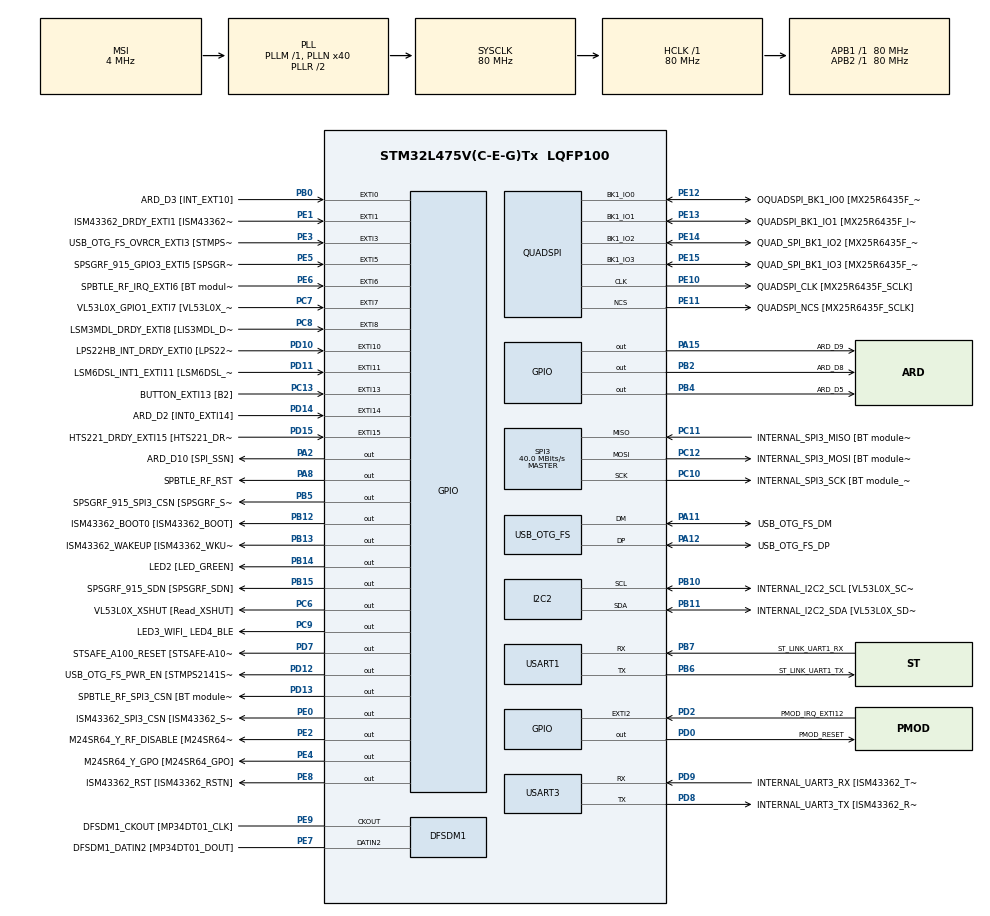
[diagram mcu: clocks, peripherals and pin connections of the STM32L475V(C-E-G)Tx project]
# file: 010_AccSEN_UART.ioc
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Mcu.Family=STM32L4
Mcu.Name=STM32L475V(C-E-G)Tx
Mcu.Package=LQFP100
NVIC.EXTI15_10_IRQn=true\:0\:0\:false\:false\:true\:true\:true\:true
NVIC.EXTI9_5_IRQn=true\:0\:0\:false\:false\:true\:true\:true\:true
NVIC.PriorityGroup=NVIC_PRIORITYGROUP_4
PA0.GPIO_Label=ARD_D1 [UART4_TX]
PA0.Signal=UART4_TX
PA1.GPIO_Label=ARD_D0 [UART4_RX]
PA1.Signal=UART4_RX
PA10.GPIO_Label=USB_OTG_FS_ID
PA10.Signal=USB_OTG_FS_ID
PA11.GPIO_Label=USB_OTG_FS_DM
PA11.Mode=Device_Only
PA11.Signal=USB_OTG_FS_DM
PA12.GPIO_Label=USB_OTG_FS_DP
PA12.Mode=Device_Only
PA12.Signal=USB_OTG_FS_DP
PA13\ (JTMS-SWDIO).GPIO_Label=SYS_JTMS_SWDIO
PA13\ (JTMS-SWDIO).Mode=Serial_Wire
PA13\ (JTMS-SWDIO).Signal=SYS_JTMS-SWDIO
PA14\ (JTCK-SWCLK).GPIO_Label=SYS_JTCK_SWCLK
PA14\ (JTCK-SWCLK).Mode=Serial_Wire
PA14\ (JTCK-SWCLK).Signal=SYS_JTCK-SWCLK
PA15\ (JTDI).GPIO_Label=ARD_D9
PA15\ (JTDI).Signal=GPIO_Output
PA2.GPIO_Label=ARD_D10 [SPI_SSN]
PA2.Signal=GPIO_Output
PA3.GPIO_Label=ARD_D4
PA3.Signal=S_TIM2_CH4
PA4.GPIO_Label=ARD_D7
PA4.Signal=ADCx_IN9
PA5.GPIO_Label=ARD_D13 [SPI1_SCK]
PA5.Signal=SPI1_SCK
PA6.GPIO_Label=ARD_D12 [SPI1_MISO]
PA6.Signal=SPI1_MISO
PA7.GPIO_Label=ARD_D11 [SPI1_MOSI]
PA7.Signal=SPI1_MOSI
PA8.GPIO_Label=SPBTLE_RF_RST
PA8.Signal=GPIO_Output
PA9.GPIO_Label=USB_OTG_FS_VBUS [STMPS2141STR_OUT]
PA9.Signal=USB_OTG_FS_VBUS
PB0.GPIO_Label=ARD_D3 [INT_EXT10]
PB0.Signal=GPXTI0
PB1.GPIO_Label=ARD_D6 [ADC1_IN6]
PB1.Signal=ADCx_IN16
PB10.GPIO_Label=INTERNAL_I2C2_SCL [VL53L0X_SCL]
PB10.GPIO_Pu=GPIO_PULLUP
PB10.Mode=I2C
PB10.Signal=I2C2_SCL
PB11.GPIO_Label=INTERNAL_I2C2_SDA [VL53L0X_SDA]
PB11.GPIO_Pu=GPIO_PULLUP
PB11.Mode=I2C
PB11.Signal=I2C2_SDA
PB12.GPIO_Label=ISM43362_BOOT0 [ISM43362_BOOT]
PB12.Signal=GPIO_Output
PB13.GPIO_Label=ISM43362_WAKEUP [ISM43362_WKUP]
PB13.Signal=GPIO_Output
PB14.GPIO_Label=LED2 [LED_GREEN]
PB14.Signal=GPIO_Output
PB15.GPIO_Label=SPSGRF_915_SDN [SPSGRF_SDN]
PB15.Signal=GPIO_Output
PB2.GPIO_Label=ARD_D8
PB2.Signal=GPIO_Output
PB3\ (JTDO-TRACESWO).GPIO_Label=SYS_JTD0_SWO
PB3\ (JTDO-TRACESWO).Signal=SYS_JTDO-SWO
PB4\ (NJTRST).GPIO_Label=ARD_D5
PB4\ (NJTRST).Signal=GPIO_Output
PB5.GPIO_Label=SPSGRF_915_SPI3_CSN [SPSGRF_SPI_CS]
PB5.PinState=GPIO_PIN_SET
PB5.Signal=GPIO_Output
PB6.GPIO_Label=ST_LINK_UART1_TX
PB6.Mode=Asynchronous
PB6.Signal=USART1_TX
PB7.GPIO_Label=ST_LINK_UART1_RX
PB7.Mode=Asynchronous
PB7.Signal=USART1_RX
PB8.GPIO_Label=ARD_D15 [I2C1_SCL]
PB8.Signal=I2C1_SCL
PB9.GPIO_Label=ARD_D14 [I2C1_SDA]
PB9.Signal=I2C1_SDA
PC0.GPIO_Label=ARD_A5 [ADC]
PC0.Signal=ADCx_IN1
PC1.GPIO_Label=ARD_A4 [ADC]
PC1.Signal=ADCx_IN2
PC10.GPIO_Label=INTERNAL_SPI3_SCK [BT module_SPI_SCLK] [ISM43362_SCK]
PC10.Mode=Full_Duplex_Master
PC10.Signal=SPI3_SCK
PC11.GPIO_Label=INTERNAL_SPI3_MISO [BT module_SPI_MISO] [ISM43362_MISO]
PC11.Mode=Full_Duplex_Master
PC11.Signal=SPI3_MISO
PC12.GPIO_Label=INTERNAL_SPI3_MOSI [BT module_SPI_MOSI] [ISM43362_MOSI]
PC12.Mode=Full_Duplex_Master
PC12.Signal=SPI3_MOSI
PC13.GPIO_Label=BUTTON_EXTI13 [B2]
PC13.GPIO_ModeDefaultEXTI=GPIO_MODE_IT_FALLING
PC13.Signal=GPXTI13
PC14-OSC32_IN\ (PC14).Mode=LSE-External-Oscillator
PC14-OSC32_IN\ (PC14).Signal=RCC_OSC32_IN
PC15-OSC32_OUT\ (PC15).Mode=LSE-External-Oscillator
PC15-OSC32_OUT\ (PC15).Signal=RCC_OSC32_OUT
PC2.GPIO_Label=ARD_A3 [ADC]
PC2.Signal=ADCx_IN3
PC3.GPIO_Label=ARD_A2 [ADC]
PC3.Signal=ADCx_IN4
PC4.GPIO_Label=ARD_A1 [ADC]
PC4.Signal=ADCx_IN13
PC5.GPIO_Label=ARD_A0 [ADC]
PC5.Signal=ADCx_IN14
PC6.GPIO_Label=VL53L0X_XSHUT [Read_XSHUT]
PC6.Signal=GPIO_Output
PC7.GPIO_Label=VL53L0X_GPIO1_EXTI7 [VL53L0X_GPIO1]
PC7.Signal=GPXTI7
PC8.GPIO_Label=LSM3MDL_DRDY_EXTI8 [LIS3MDL_DRDY]
PC8.Signal=GPXTI8
PC9.GPIO_Label=LED3_WIFI_ LED4_BLE
PC9.Signal=GPIO_Output
PD0.GPIO_Label=PMOD_RESET
PD0.Signal=GPIO_Output
PD1.GPIO_Label=PMOD_SPI2_SCK
PD1.Signal=SPI2_SCK
PD10.GPIO_Label=LPS22HB_INT_DRDY_EXTI0 [LPS22HB_INT_DRDY] 
PD10.Signal=GPXTI10
PD11.GPIO_Label=LSM6DSL_INT1_EXTI11 [LSM6DSL_INT1]
PD11.Signal=GPXTI11
PD12.GPIO_Label=USB_OTG_FS_PWR_EN [STMPS2141STR_EN]
PD12.Signal=GPIO_Output
PD13.GPIO_Label=SPBTLE_RF_SPI3_CSN [BT module_SPI_CS]
PD13.PinState=GPIO_PIN_SET
PD13.Signal=GPIO_Output
PD14.GPIO_Label=ARD_D2 [INT0_EXTI14]
PD14.Signal=GPXTI14
PD15.GPIO_Label=HTS221_DRDY_EXTI15 [HTS221_DRDY]
PD15.Signal=GPXTI15
PD2.GPIO_Label=PMOD_IRQ_EXTI12
PD2.Signal=GPXTI2
PD3.GPIO_Label=PMOD_UART2_CTS
PD3.Signal=USART2_CTS
PD4.GPIO_Label=PMOD_UART2_RTS
PD4.Signal=USART2_RTS
PD5.GPIO_Label=PMOD_UART2_TX
PD5.Signal=USART2_TX
PD6.GPIO_Label=PMOD_UART2_RX
PD6.Signal=USART2_RX
PD7.GPIO_Label=STSAFE_A100_RESET [STSAFE-A100_RESET]
PD7.Signal=GPIO_Output
PD8.GPIO_Label=INTERNAL_UART3_TX [ISM43362_RX]
PD8.Mode=Asynchronous
PD8.Signal=USART3_TX
PD9.GPIO_Label=INTERNAL_UART3_RX [ISM43362_TX]
PD9.Mode=Asynchronous
PD9.Signal=USART3_RX
PE0.GPIO_Label=ISM43362_SPI3_CSN [ISM43362_SSN]
PE0.PinState=GPIO_PIN_SET
PE0.Signal=GPIO_Output
PE1.GPIO_Label=ISM43362_DRDY_EXTI1 [ISM43362_DATARDY]
PE1.Signal=GPXTI1
PE10.GPIO_Label=QUADSPI_CLK [MX25R6435F_SCLK]
PE10.Mode=Single Bank
PE10.Signal=QUADSPI_CLK
PE11.GPIO_Label=QUADSPI_NCS [MX25R6435F_SCLK]
PE11.Mode=Single Bank
PE11.Signal=QUADSPI_NCS
PE12.GPIO_Label=OQUADSPI_BK1_IO0 [MX25R6435F_IO0]
PE12.Mode=Single Bank
PE12.Signal=QUADSPI_BK1_IO0
PE13.GPIO_Label=QUADSPI_BK1_IO1 [MX25R6435F_IO1]
PE13.Mode=Single Bank
PE13.Signal=QUADSPI_BK1_IO1
PE14.GPIO_Label=QUAD_SPI_BK1_IO2 [MX25R6435F_IO2]
PE14.Mode=Single Bank
PE14.Signal=QUADSPI_BK1_IO2
PE15.GPIO_Label=QUAD_SPI_BK1_IO3 [MX25R6435F_IO3]
PE15.Mode=Single Bank
PE15.Signal=QUADSPI_BK1_IO3
PE2.GPIO_Label=M24SR64_Y_RF_DISABLE [M24SR64_RFDIS]
PE2.Signal=GPIO_Output
PE3.GPIO_Label=USB_OTG_FS_OVRCR_EXTI3 [STMPS2141STR_FAULT]
PE3.Signal=GPXTI3
PE4.GPIO_Label=M24SR64_Y_GPO [M24SR64_GPO]
PE4.Signal=GPIO_Output
PE5.GPIO_Label=SPSGRF_915_GPIO3_EXTI5 [SPSGRF_GPIO_3]
PE5.Signal=GPXTI5
PE6.GPIO_Label=SPBTLE_RF_IRQ_EXTI6 [BT module_SPI_IRQ]
PE6.Signal=GPXTI6
PE7.GPIO_Label=DFSDM1_DATIN2 [MP34DT01_DOUT]
PE7.Signal=S_DATAIN2DFSDM1
PE8.GPIO_Label=ISM43362_RST [ISM43362_RSTN]
PE8.Signal=GPIO_Output
PE9.GPIO_Label=DFSDM1_CKOUT [MP34DT01_CLK]
PE9.Signal=S_CKOUTDFSDM1
ProjectManager.HeapSize=0x200
ProjectManager.StackSize=0x400
ProjectManager.TargetToolchain=STM32CubeIDE
QUADSPI.ClockPrescaler=2
QUADSPI.FifoThreshold=4
QUADSPI.FlashSize=23
QUADSPI.SampleShifting=QSPI_SAMPLE_SHIFTING_HALFCYCLE
RCC.ADCFreq_Value=48000000
RCC.AHBFreq_Value=80000000
RCC.APB1Freq_Value=80000000
RCC.APB1TimFreq_Value=80000000
RCC.APB2Freq_Value=80000000
RCC.APB2TimFreq_Value=80000000
RCC.CortexFreq_Value=80000000
RCC.HCLKFreq_Value=80000000
RCC.HSE_VALUE=8000000
RCC.HSI_VALUE=16000000
RCC.MSI_VALUE=4000000
RCC.PLLN=40
RCC.PLLSAI1N=24
RCC.SYSCLKFreq_VALUE=80000000
RCC.SYSCLKSource=RCC_SYSCLKSOURCE_PLLCLK
RCC.USBFreq_Value=48000000
RCC.VCOOutputFreq_Value=160000000
SH.ADCx_IN1.0=ADC1_IN1
SH.ADCx_IN13.0=ADC1_IN13
SH.ADCx_IN14.0=ADC1_IN14
SH.ADCx_IN16.0=ADC1_IN16
SH.ADCx_IN2.0=ADC1_IN2
SH.ADCx_IN3.0=ADC1_IN3
SH.ADCx_IN4.0=ADC1_IN4
SH.ADCx_IN9.0=ADC1_IN9
SH.S_CKOUTDFSDM1.0=DFSDM1_CKOUT,CKOUT
SH.S_CKOUTDFSDM1.1=DFSDM1_CKOUT,PDM_SPI_Input_from_ch12_and_Internal_Clock
SH.S_DATAIN2DFSDM1.0=DFSDM1_DATIN2,PDM_SPI_Input_from_ch12_and_Internal_Clock
SH.S_TIM2_CH4.0=TIM2_CH4
SPI3.CalculateBaudRate=40.0 MBits/s
SPI3.Direction=SPI_DIRECTION_2LINES
SPI3.Mode=SPI_MODE_MASTER
SPI3.VirtualType=VM_MASTER
USART1.VirtualMode-Asynchronous=VM_ASYNC
USART3.VirtualMode-Asynchronous=VM_ASYNC
USB_OTG_FS.VirtualMode=Device_Only
board=B-L475E-IOT01A2

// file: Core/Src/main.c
/* USER CODE BEGIN Header */
/**
  ******************************************************************************
  * @file           : main.c
  * @brief          : Main program body
  ******************************************************************************
  * @attention
  *
  * Copyright (c) 2024 STMicroelectronics.
  * All rights reserved.
  *
  * This software is licensed under terms that can be found in the LICENSE file
  * in the root directory of this software component.
  * If no LICENSE file comes with this software, it is provided AS-IS.
  *
  ******************************************************************************
  */
/* USER CODE END Header */
#include "main.h"

/* USER CODE BEGIN Includes */
#include <stdio.h>
#include <math.h>
#include "stm32l475e_iot01.h"
#include "lsm6dsl.h"
/* USER CODE END Includes */

DFSDM_Channel_HandleTypeDef hdfsdm1_channel1;

I2C_HandleTypeDef hi2c2;

QSPI_HandleTypeDef hqspi;

SPI_HandleTypeDef hspi3;

UART_HandleTypeDef huart1;
UART_HandleTypeDef huart3;

PCD_HandleTypeDef hpcd_USB_OTG_FS;

/* USER CODE BEGIN PV */
uint8_t train[] = "                                          &&&&&&&&&\n\r                                        &&&\n\r                                       &&\n\r                                      &  _____ ___________\n\r                                     II__|[] | |   I I   |\n\r       @Balaji303                   |        |_|_  I I  _|\n\r                                   < OO----OOO   OO---OO\n\r**********************************************************\n\r";
char str_tmp[100] = ""; // Formatted message to display the temperature value
uint8_t msg0[] = "$$$$$$ A Project by @Balaji303 $$$$$$\n\n\r";
uint8_t msg1[] = "****** Accelerometer values measurement ******\n\n\r";
uint8_t msg2[] = "=====> Initializing sensor LSM6DSL ...\r\n";
uint8_t msg3[] = "=====> Sensor LSM6DSL initialized \r\n ";
/* USER CODE END PV */

void SystemClock_Config(void);
static void MX_GPIO_Init(void);
static void MX_DFSDM1_Init(void);
static void MX_I2C2_Init(void);
static void MX_QUADSPI_Init(void);
static void MX_SPI3_Init(void);
static void MX_USART1_UART_Init(void);
static void MX_USART3_UART_Init(void);
static void MX_USB_OTG_FS_PCD_Init(void);

int main(void)
{

  /* MCU Configuration--------------------------------------------------------*/

  /* Reset of all peripherals, Initializes the Flash interface and the Systick. */
  HAL_Init();

  /* Configure the system clock */
  SystemClock_Config();

  /* Initialize all configured peripherals */
  MX_GPIO_Init();
  MX_DFSDM1_Init();
  MX_I2C2_Init();
  MX_QUADSPI_Init();
  MX_SPI3_Init();
  MX_USART1_UART_Init();
  MX_USART3_UART_Init();
  MX_USB_OTG_FS_PCD_Init();
  /* USER CODE BEGIN 2 */
  int16_t AccelerometerData[3];
  HAL_UART_Transmit(&huart1,train,sizeof(train),1000);
  HAL_Delay(100);
  HAL_UART_Transmit(&huart1,msg0,sizeof(msg0),1000);
  HAL_UART_Transmit(&huart1,msg1,sizeof(msg1),1000);
  HAL_Delay(100);
  HAL_UART_Transmit(&huart1,msg2,sizeof(msg2),1000);
  //1. Initialize Accelerometer sensor
  uint16_t LSM6DSL_InitStruct;
  //CTRL1_XL = 0b0110_0000 = 0X60 //416Hz High performance
  LSM6DSL_InitStruct |= 0x60;
  //CTRL3_C = 0b0100_0000_0000 = 0x0400 //Enable Serial Interface
  LSM6DSL_InitStruct |= 0x0400;
  //LSM6DSL_InitStruct |= 0x0460;
  LSM6DSL_AccInit(LSM6DSL_InitStruct);
  HAL_UART_Transmit(&huart1,msg3,sizeof(msg3),1000);
  //
  /* USER CODE END 2 */

  /* Infinite loop */
  while (1)
  {

    /* USER CODE BEGIN 3 */
	  LSM6DSL_AccReadXYZ(&AccelerometerData[0]);
	  snprintf(str_tmp,100,"X=%d Y=%d Z=%d\n\r", AccelerometerData[0], AccelerometerData[1], AccelerometerData[2]);
	  HAL_UART_Transmit(&huart1,( uint8_t *)str_tmp,sizeof(str_tmp),1000);
	  HAL_Delay(2000);
  }
  /* USER CODE END 3 */
}

void SystemClock_Config(void)
{
  RCC_OscInitTypeDef RCC_OscInitStruct = {0};
  RCC_ClkInitTypeDef RCC_ClkInitStruct = {0};

  /** Configure the main internal regulator output voltage
  */
  if (HAL_PWREx_ControlVoltageScaling(PWR_REGULATOR_VOLTAGE_SCALE1) != HAL_OK)
  {
    Error_Handler();
  }

  /** Configure LSE Drive Capability
  */
  HAL_PWR_EnableBkUpAccess();
  __HAL_RCC_LSEDRIVE_CONFIG(RCC_LSEDRIVE_LOW);

  /** Initializes the RCC Oscillators according to the specified parameters
  * in the RCC_OscInitTypeDef structure.
  */
  RCC_OscInitStruct.OscillatorType = RCC_OSCILLATORTYPE_LSE|RCC_OSCILLATORTYPE_MSI;
  RCC_OscInitStruct.LSEState = RCC_LSE_ON;
  RCC_OscInitStruct.MSIState = RCC_MSI_ON;
  RCC_OscInitStruct.MSICalibrationValue = 0;
  RCC_OscInitStruct.MSIClockRange = RCC_MSIRANGE_6;
  RCC_OscInitStruct.PLL.PLLState = RCC_PLL_ON;
  RCC_OscInitStruct.PLL.PLLSource = RCC_PLLSOURCE_MSI;
  RCC_OscInitStruct.PLL.PLLM = 1;
  RCC_OscInitStruct.PLL.PLLN = 40;
  RCC_OscInitStruct.PLL.PLLP = RCC_PLLP_DIV7;
  RCC_OscInitStruct.PLL.PLLQ = RCC_PLLQ_DIV2;
  RCC_OscInitStruct.PLL.PLLR = RCC_PLLR_DIV2;
  if (HAL_RCC_OscConfig(&RCC_OscInitStruct) != HAL_OK)
  {
    Error_Handler();
  }

  /** Initializes the CPU, AHB and APB buses clocks
  */
  RCC_ClkInitStruct.ClockType = RCC_CLOCKTYPE_HCLK|RCC_CLOCKTYPE_SYSCLK
                              |RCC_CLOCKTYPE_PCLK1|RCC_CLOCKTYPE_PCLK2;
  RCC_ClkInitStruct.SYSCLKSource = RCC_SYSCLKSOURCE_PLLCLK;
  RCC_ClkInitStruct.AHBCLKDivider = RCC_SYSCLK_DIV1;
  RCC_ClkInitStruct.APB1CLKDivider = RCC_HCLK_DIV1;
  RCC_ClkInitStruct.APB2CLKDivider = RCC_HCLK_DIV1;

  if (HAL_RCC_ClockConfig(&RCC_ClkInitStruct, FLASH_LATENCY_4) != HAL_OK)
  {
    Error_Handler();
  }

  /** Enable MSI Auto calibration
  */
  HAL_RCCEx_EnableMSIPLLMode();
}

static void MX_DFSDM1_Init(void)
{

  hdfsdm1_channel1.Instance = DFSDM1_Channel1;
  hdfsdm1_channel1.Init.OutputClock.Activation = ENABLE;
  hdfsdm1_channel1.Init.OutputClock.Selection = DFSDM_CHANNEL_OUTPUT_CLOCK_SYSTEM;
  hdfsdm1_channel1.Init.OutputClock.Divider = 2;
  hdfsdm1_channel1.Init.Input.Multiplexer = DFSDM_CHANNEL_EXTERNAL_INPUTS;
  hdfsdm1_channel1.Init.Input.DataPacking = DFSDM_CHANNEL_STANDARD_MODE;
  hdfsdm1_channel1.Init.Input.Pins = DFSDM_CHANNEL_FOLLOWING_CHANNEL_PINS;
  hdfsdm1_channel1.Init.SerialInterface.Type = DFSDM_CHANNEL_SPI_RISING;
  hdfsdm1_channel1.Init.SerialInterface.SpiClock = DFSDM_CHANNEL_SPI_CLOCK_INTERNAL;
  hdfsdm1_channel1.Init.Awd.FilterOrder = DFSDM_CHANNEL_FASTSINC_ORDER;
  hdfsdm1_channel1.Init.Awd.Oversampling = 1;
  hdfsdm1_channel1.Init.Offset = 0;
  hdfsdm1_channel1.Init.RightBitShift = 0x00;
  if (HAL_DFSDM_ChannelInit(&hdfsdm1_channel1) != HAL_OK)
  {
    Error_Handler();
  }

}

static void MX_I2C2_Init(void)
{

  hi2c2.Instance = I2C2;
  hi2c2.Init.Timing = 0x00000E14;
  hi2c2.Init.OwnAddress1 = 0;
  hi2c2.Init.AddressingMode = I2C_ADDRESSINGMODE_7BIT;
  hi2c2.Init.DualAddressMode = I2C_DUALADDRESS_DISABLE;
  hi2c2.Init.OwnAddress2 = 0;
  hi2c2.Init.OwnAddress2Masks = I2C_OA2_NOMASK;
  hi2c2.Init.GeneralCallMode = I2C_GENERALCALL_DISABLE;
  hi2c2.Init.NoStretchMode = I2C_NOSTRETCH_DISABLE;
  if (HAL_I2C_Init(&hi2c2) != HAL_OK)
  {
    Error_Handler();
  }

  /** Configure Analogue filter
  */
  if (HAL_I2CEx_ConfigAnalogFilter(&hi2c2, I2C_ANALOGFILTER_ENABLE) != HAL_OK)
  {
    Error_Handler();
  }

  /** Configure Digital filter
  */
  if (HAL_I2CEx_ConfigDigitalFilter(&hi2c2, 0) != HAL_OK)
  {
    Error_Handler();
  }

}

static void MX_QUADSPI_Init(void)
{

  /* QUADSPI parameter configuration*/
  hqspi.Instance = QUADSPI;
  hqspi.Init.ClockPrescaler = 2;
  hqspi.Init.FifoThreshold = 4;
  hqspi.Init.SampleShifting = QSPI_SAMPLE_SHIFTING_HALFCYCLE;
  hqspi.Init.FlashSize = 23;
  hqspi.Init.ChipSelectHighTime = QSPI_CS_HIGH_TIME_1_CYCLE;
  hqspi.Init.ClockMode = QSPI_CLOCK_MODE_0;
  if (HAL_QSPI_Init(&hqspi) != HAL_OK)
  {
    Error_Handler();
  }

}

static void MX_SPI3_Init(void)
{

  /* SPI3 parameter configuration*/
  hspi3.Instance = SPI3;
  hspi3.Init.Mode = SPI_MODE_MASTER;
  hspi3.Init.Direction = SPI_DIRECTION_2LINES;
  hspi3.Init.DataSize = SPI_DATASIZE_4BIT;
  hspi3.Init.CLKPolarity = SPI_POLARITY_LOW;
  hspi3.Init.CLKPhase = SPI_PHASE_1EDGE;
  hspi3.Init.NSS = SPI_NSS_SOFT;
  hspi3.Init.BaudRatePrescaler = SPI_BAUDRATEPRESCALER_2;
  hspi3.Init.FirstBit = SPI_FIRSTBIT_MSB;
  hspi3.Init.TIMode = SPI_TIMODE_DISABLE;
  hspi3.Init.CRCCalculation = SPI_CRCCALCULATION_DISABLE;
  hspi3.Init.CRCPolynomial = 7;
  hspi3.Init.CRCLength = SPI_CRC_LENGTH_DATASIZE;
  hspi3.Init.NSSPMode = SPI_NSS_PULSE_ENABLE;
  if (HAL_SPI_Init(&hspi3) != HAL_OK)
  {
    Error_Handler();
  }

}

static void MX_USART1_UART_Init(void)
{

  huart1.Instance = USART1;
  huart1.Init.BaudRate = 115200;
  huart1.Init.WordLength = UART_WORDLENGTH_8B;
  huart1.Init.StopBits = UART_STOPBITS_1;
  huart1.Init.Parity = UART_PARITY_NONE;
  huart1.Init.Mode = UART_MODE_TX_RX;
  huart1.Init.HwFlowCtl = UART_HWCONTROL_NONE;
  huart1.Init.OverSampling = UART_OVERSAMPLING_16;
  huart1.Init.OneBitSampling = UART_ONE_BIT_SAMPLE_DISABLE;
  huart1.AdvancedInit.AdvFeatureInit = UART_ADVFEATURE_NO_INIT;
  if (HAL_UART_Init(&huart1) != HAL_OK)
  {
    Error_Handler();
  }

}

static void MX_USART3_UART_Init(void)
{

  huart3.Instance = USART3;
  huart3.Init.BaudRate = 115200;
  huart3.Init.WordLength = UART_WORDLENGTH_8B;
  huart3.Init.StopBits = UART_STOPBITS_1;
  huart3.Init.Parity = UART_PARITY_NONE;
  huart3.Init.Mode = UART_MODE_TX_RX;
  huart3.Init.HwFlowCtl = UART_HWCONTROL_NONE;
  huart3.Init.OverSampling = UART_OVERSAMPLING_16;
  huart3.Init.OneBitSampling = UART_ONE_BIT_SAMPLE_DISABLE;
  huart3.AdvancedInit.AdvFeatureInit = UART_ADVFEATURE_NO_INIT;
  if (HAL_UART_Init(&huart3) != HAL_OK)
  {
    Error_Handler();
  }

}

static void MX_USB_OTG_FS_PCD_Init(void)
{

  hpcd_USB_OTG_FS.Instance = USB_OTG_FS;
  hpcd_USB_OTG_FS.Init.dev_endpoints = 6;
  hpcd_USB_OTG_FS.Init.speed = PCD_SPEED_FULL;
  hpcd_USB_OTG_FS.Init.phy_itface = PCD_PHY_EMBEDDED;
  hpcd_USB_OTG_FS.Init.Sof_enable = DISABLE;
  hpcd_USB_OTG_FS.Init.low_power_enable = DISABLE;
  hpcd_USB_OTG_FS.Init.lpm_enable = DISABLE;
  hpcd_USB_OTG_FS.Init.battery_charging_enable = DISABLE;
  hpcd_USB_OTG_FS.Init.use_dedicated_ep1 = DISABLE;
  hpcd_USB_OTG_FS.Init.vbus_sensing_enable = DISABLE;
  if (HAL_PCD_Init(&hpcd_USB_OTG_FS) != HAL_OK)
  {
    Error_Handler();
  }

}

static void MX_GPIO_Init(void)
{
  GPIO_InitTypeDef GPIO_InitStruct = {0};

  /* GPIO Ports Clock Enable */
  __HAL_RCC_GPIOE_CLK_ENABLE();
  __HAL_RCC_GPIOC_CLK_ENABLE();
  __HAL_RCC_GPIOA_CLK_ENABLE();
  __HAL_RCC_GPIOB_CLK_ENABLE();
  __HAL_RCC_GPIOD_CLK_ENABLE();

  /*Configure GPIO pin Output Level */
  HAL_GPIO_WritePin(GPIOE, M24SR64_Y_RF_DISABLE_Pin|M24SR64_Y_GPO_Pin|ISM43362_RST_Pin, GPIO_PIN_RESET);

  /*Configure GPIO pin Output Level */
  HAL_GPIO_WritePin(GPIOA, ARD_D10_Pin|SPBTLE_RF_RST_Pin|ARD_D9_Pin, GPIO_PIN_RESET);

  /*Configure GPIO pin Output Level */
  HAL_GPIO_WritePin(GPIOB, ARD_D8_Pin|ISM43362_BOOT0_Pin|ISM43362_WAKEUP_Pin|LED2_Pin
                          |SPSGRF_915_SDN_Pin|ARD_D5_Pin, GPIO_PIN_RESET);

  /*Configure GPIO pin Output Level */
  HAL_GPIO_WritePin(GPIOD, USB_OTG_FS_PWR_EN_Pin|PMOD_RESET_Pin|STSAFE_A100_RESET_Pin, GPIO_PIN_RESET);

  /*Configure GPIO pin Output Level */
  HAL_GPIO_WritePin(SPBTLE_RF_SPI3_CSN_GPIO_Port, SPBTLE_RF_SPI3_CSN_Pin, GPIO_PIN_SET);

  /*Configure GPIO pin Output Level */
  HAL_GPIO_WritePin(GPIOC, VL53L0X_XSHUT_Pin|LED3_WIFI__LED4_BLE_Pin, GPIO_PIN_RESET);

  /*Configure GPIO pin Output Level */
  HAL_GPIO_WritePin(SPSGRF_915_SPI3_CSN_GPIO_Port, SPSGRF_915_SPI3_CSN_Pin, GPIO_PIN_SET);

  /*Configure GPIO pin Output Level */
  HAL_GPIO_WritePin(ISM43362_SPI3_CSN_GPIO_Port, ISM43362_SPI3_CSN_Pin, GPIO_PIN_SET);

  /*Configure GPIO pins : M24SR64_Y_RF_DISABLE_Pin M24SR64_Y_GPO_Pin ISM43362_RST_Pin ISM43362_SPI3_CSN_Pin */
  GPIO_InitStruct.Pin = M24SR64_Y_RF_DISABLE_Pin|M24SR64_Y_GPO_Pin|ISM43362_RST_Pin|ISM43362_SPI3_CSN_Pin;
  GPIO_InitStruct.Mode = GPIO_MODE_OUTPUT_PP;
  GPIO_InitStruct.Pull = GPIO_NOPULL;
  GPIO_InitStruct.Speed = GPIO_SPEED_FREQ_LOW;
  HAL_GPIO_Init(GPIOE, &GPIO_InitStruct);

  /*Configure GPIO pins : USB_OTG_FS_OVRCR_EXTI3_Pin SPSGRF_915_GPIO3_EXTI5_Pin SPBTLE_RF_IRQ_EXTI6_Pin ISM43362_DRDY_EXTI1_Pin */
  GPIO_InitStruct.Pin = USB_OTG_FS_OVRCR_EXTI3_Pin|SPSGRF_915_GPIO3_EXTI5_Pin|SPBTLE_RF_IRQ_EXTI6_Pin|ISM43362_DRDY_EXTI1_Pin;
  GPIO_InitStruct.Mode = GPIO_MODE_IT_RISING;
  GPIO_InitStruct.Pull = GPIO_NOPULL;
  HAL_GPIO_Init(GPIOE, &GPIO_InitStruct);

  /*Configure GPIO pin : BUTTON_EXTI13_Pin */
  GPIO_InitStruct.Pin = BUTTON_EXTI13_Pin;
  GPIO_InitStruct.Mode = GPIO_MODE_IT_FALLING;
  GPIO_InitStruct.Pull = GPIO_NOPULL;
  HAL_GPIO_Init(BUTTON_EXTI13_GPIO_Port, &GPIO_InitStruct);

  /*Configure GPIO pins : ARD_A5_Pin ARD_A4_Pin ARD_A3_Pin ARD_A2_Pin
                           ARD_A1_Pin ARD_A0_Pin */
  GPIO_InitStruct.Pin = ARD_A5_Pin|ARD_A4_Pin|ARD_A3_Pin|ARD_A2_Pin
                          |ARD_A1_Pin|ARD_A0_Pin;
  GPIO_InitStruct.Mode = GPIO_MODE_ANALOG_ADC_CONTROL;
  GPIO_InitStruct.Pull = GPIO_NOPULL;
  HAL_GPIO_Init(GPIOC, &GPIO_InitStruct);

  /*Configure GPIO pins : ARD_D1_Pin ARD_D0_Pin */
  GPIO_InitStruct.Pin = ARD_D1_Pin|ARD_D0_Pin;
  GPIO_InitStruct.Mode = GPIO_MODE_AF_PP;
  GPIO_InitStruct.Pull = GPIO_NOPULL;
  GPIO_InitStruct.Speed = GPIO_SPEED_FREQ_VERY_HIGH;
  GPIO_InitStruct.Alternate = GPIO_AF8_UART4;
  HAL_GPIO_Init(GPIOA, &GPIO_InitStruct);

  /*Configure GPIO pins : ARD_D10_Pin SPBTLE_RF_RST_Pin ARD_D9_Pin */
  GPIO_InitStruct.Pin = ARD_D10_Pin|SPBTLE_RF_RST_Pin|ARD_D9_Pin;
  GPIO_InitStruct.Mode = GPIO_MODE_OUTPUT_PP;
  GPIO_InitStruct.Pull = GPIO_NOPULL;
  GPIO_InitStruct.Speed = GPIO_SPEED_FREQ_LOW;
  HAL_GPIO_Init(GPIOA, &GPIO_InitStruct);

  /*Configure GPIO pin : ARD_D4_Pin */
  GPIO_InitStruct.Pin = ARD_D4_Pin;
  GPIO_InitStruct.Mode = GPIO_MODE_AF_PP;
  GPIO_InitStruct.Pull = GPIO_NOPULL;
  GPIO_InitStruct.Speed = GPIO_SPEED_FREQ_LOW;
  GPIO_InitStruct.Alternate = GPIO_AF1_TIM2;
  HAL_GPIO_Init(ARD_D4_GPIO_Port, &GPIO_InitStruct);

  /*Configure GPIO pin : ARD_D7_Pin */
  GPIO_InitStruct.Pin = ARD_D7_Pin;
  GPIO_InitStruct.Mode = GPIO_MODE_ANALOG_ADC_CONTROL;
  GPIO_InitStruct.Pull = GPIO_NOPULL;
  HAL_GPIO_Init(ARD_D7_GPIO_Port, &GPIO_InitStruct);

  /*Configure GPIO pins : ARD_D13_Pin ARD_D12_Pin ARD_D11_Pin */
  GPIO_InitStruct.Pin = ARD_D13_Pin|ARD_D12_Pin|ARD_D11_Pin;
  GPIO_InitStruct.Mode = GPIO_MODE_AF_PP;
  GPIO_InitStruct.Pull = GPIO_NOPULL;
  GPIO_InitStruct.Speed = GPIO_SPEED_FREQ_VERY_HIGH;
  GPIO_InitStruct.Alternate = GPIO_AF5_SPI1;
  HAL_GPIO_Init(GPIOA, &GPIO_InitStruct);

  /*Configure GPIO pin : ARD_D3_Pin */
  GPIO_InitStruct.Pin = ARD_D3_Pin;
  GPIO_InitStruct.Mode = GPIO_MODE_IT_RISING;
  GPIO_InitStruct.Pull = GPIO_NOPULL;
  HAL_GPIO_Init(ARD_D3_GPIO_Port, &GPIO_InitStruct);

  /*Configure GPIO pin : ARD_D6_Pin */
  GPIO_InitStruct.Pin = ARD_D6_Pin;
  GPIO_InitStruct.Mode = GPIO_MODE_ANALOG_ADC_CONTROL;
  GPIO_InitStruct.Pull = GPIO_NOPULL;
  HAL_GPIO_Init(ARD_D6_GPIO_Port, &GPIO_InitStruct);

  /*Configure GPIO pins : ARD_D8_Pin ISM43362_BOOT0_Pin ISM43362_WAKEUP_Pin LED2_Pin
                           SPSGRF_915_SDN_Pin ARD_D5_Pin SPSGRF_915_SPI3_CSN_Pin */
  GPIO_InitStruct.Pin = ARD_D8_Pin|ISM43362_BOOT0_Pin|ISM43362_WAKEUP_Pin|LED2_Pin
                          |SPSGRF_915_SDN_Pin|ARD_D5_Pin|SPSGRF_915_SPI3_CSN_Pin;
  GPIO_InitStruct.Mode = GPIO_MODE_OUTPUT_PP;
  GPIO_InitStruct.Pull = GPIO_NOPULL;
  GPIO_InitStruct.Speed = GPIO_SPEED_FREQ_LOW;
  HAL_GPIO_Init(GPIOB, &GPIO_InitStruct);

  /*Configure GPIO pins : LPS22HB_INT_DRDY_EXTI0_Pin LSM6DSL_INT1_EXTI11_Pin ARD_D2_Pin HTS221_DRDY_EXTI15_Pin
                           PMOD_IRQ_EXTI12_Pin */
  GPIO_InitStruct.Pin = LPS22HB_INT_DRDY_EXTI0_Pin|LSM6DSL_INT1_EXTI11_Pin|ARD_D2_Pin|HTS221_DRDY_EXTI15_Pin
                          |PMOD_IRQ_EXTI12_Pin;
  GPIO_InitStruct.Mode = GPIO_MODE_IT_RISING;
  GPIO_InitStruct.Pull = GPIO_NOPULL;
  HAL_GPIO_Init(GPIOD, &GPIO_InitStruct);

  /*Configure GPIO pins : USB_OTG_FS_PWR_EN_Pin SPBTLE_RF_SPI3_CSN_Pin PMOD_RESET_Pin STSAFE_A100_RESET_Pin */
  GPIO_InitStruct.Pin = USB_OTG_FS_PWR_EN_Pin|SPBTLE_RF_SPI3_CSN_Pin|PMOD_RESET_Pin|STSAFE_A100_RESET_Pin;
  GPIO_InitStruct.Mode = GPIO_MODE_OUTPUT_PP;
  GPIO_InitStruct.Pull = GPIO_NOPULL;
  GPIO_InitStruct.Speed = GPIO_SPEED_FREQ_LOW;
  HAL_GPIO_Init(GPIOD, &GPIO_InitStruct);

  /*Configure GPIO pins : VL53L0X_XSHUT_Pin LED3_WIFI__LED4_BLE_Pin */
  GPIO_InitStruct.Pin = VL53L0X_XSHUT_Pin|LED3_WIFI__LED4_BLE_Pin;
  GPIO_InitStruct.Mode = GPIO_MODE_OUTPUT_PP;
  GPIO_InitStruct.Pull = GPIO_NOPULL;
  GPIO_InitStruct.Speed = GPIO_SPEED_FREQ_LOW;
  HAL_GPIO_Init(GPIOC, &GPIO_InitStruct);

  /*Configure GPIO pins : VL53L0X_GPIO1_EXTI7_Pin LSM3MDL_DRDY_EXTI8_Pin */
  GPIO_InitStruct.Pin = VL53L0X_GPIO1_EXTI7_Pin|LSM3MDL_DRDY_EXTI8_Pin;
  GPIO_InitStruct.Mode = GPIO_MODE_IT_RISING;
  GPIO_InitStruct.Pull = GPIO_NOPULL;
  HAL_GPIO_Init(GPIOC, &GPIO_InitStruct);

  /*Configure GPIO pin : PMOD_SPI2_SCK_Pin */
  GPIO_InitStruct.Pin = PMOD_SPI2_SCK_Pin;
  GPIO_InitStruct.Mode = GPIO_MODE_AF_PP;
  GPIO_InitStruct.Pull = GPIO_NOPULL;
  GPIO_InitStruct.Speed = GPIO_SPEED_FREQ_VERY_HIGH;
  GPIO_InitStruct.Alternate = GPIO_AF5_SPI2;
  HAL_GPIO_Init(PMOD_SPI2_SCK_GPIO_Port, &GPIO_InitStruct);

  /*Configure GPIO pins : PMOD_UART2_CTS_Pin PMOD_UART2_RTS_Pin PMOD_UART2_TX_Pin PMOD_UART2_RX_Pin */
  GPIO_InitStruct.Pin = PMOD_UART2_CTS_Pin|PMOD_UART2_RTS_Pin|PMOD_UART2_TX_Pin|PMOD_UART2_RX_Pin;
  GPIO_InitStruct.Mode = GPIO_MODE_AF_PP;
  GPIO_InitStruct.Pull = GPIO_NOPULL;
  GPIO_InitStruct.Speed = GPIO_SPEED_FREQ_VERY_HIGH;
  GPIO_InitStruct.Alternate = GPIO_AF7_USART2;
  HAL_GPIO_Init(GPIOD, &GPIO_InitStruct);

  /*Configure GPIO pins : ARD_D15_Pin ARD_D14_Pin */
  GPIO_InitStruct.Pin = ARD_D15_Pin|ARD_D14_Pin;
  GPIO_InitStruct.Mode = GPIO_MODE_AF_OD;
  GPIO_InitStruct.Pull = GPIO_NOPULL;
  GPIO_InitStruct.Speed = GPIO_SPEED_FREQ_VERY_HIGH;
  GPIO_InitStruct.Alternate = GPIO_AF4_I2C1;
  HAL_GPIO_Init(GPIOB, &GPIO_InitStruct);

  /* EXTI interrupt init*/
  HAL_NVIC_SetPriority(EXTI9_5_IRQn, 0, 0);
  HAL_NVIC_EnableIRQ(EXTI9_5_IRQn);

  HAL_NVIC_SetPriority(EXTI15_10_IRQn, 0, 0);
  HAL_NVIC_EnableIRQ(EXTI15_10_IRQn);

}

void Error_Handler(void)
{
  __disable_irq();
  while (1)
  {
  }
}
